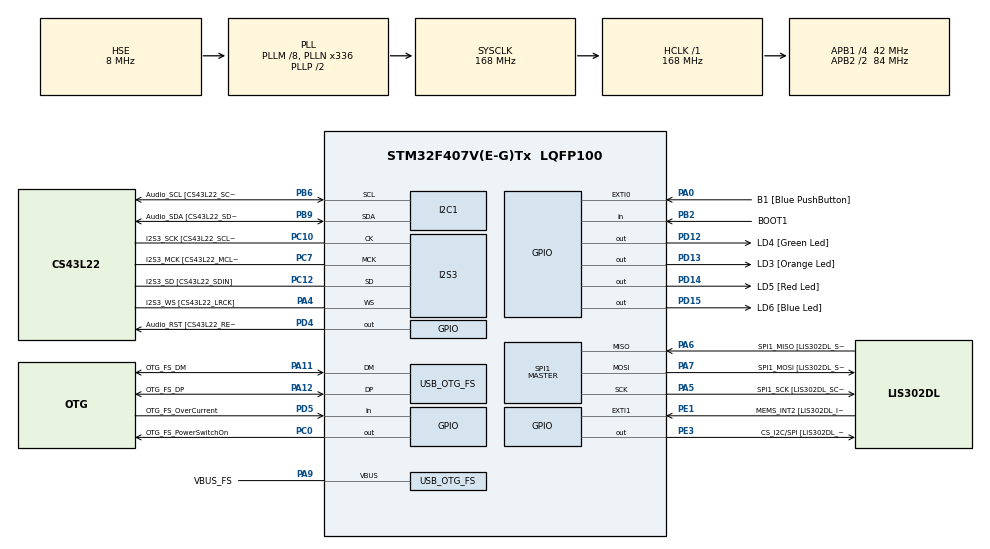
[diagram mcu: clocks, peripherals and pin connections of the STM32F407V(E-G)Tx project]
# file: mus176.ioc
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I2S3.AudioFreq-Half_Duplex_Master=I2S_AUDIOFREQ_96K
I2S3.ErrorAudioFreq=-2.34 %
I2S3.ErrorAudioFreq-Half_Duplex_Master=0.8 %
I2S3.FullDuplexMode=I2S_FULLDUPLEXMODE_DISABLE
I2S3.Instance=SPI$Index
I2S3.RealAudioFreq=93.75 KHz
I2S3.RealAudioFreq-Half_Duplex_Master=96.774 KHz
I2S3.VirtualMode=I2S_MODE_MASTER
Mcu.Family=STM32F4
Mcu.Name=STM32F407V(E-G)Tx
Mcu.Package=LQFP100
NVIC.OTG_FS_IRQn=true\:0\:0\:false\:false\:true\:true\:true
NVIC.PriorityGroup=NVIC_PRIORITYGROUP_0
PA0-WKUP.GPIO_Label=B1 [Blue PushButton]
PA0-WKUP.GPIO_ModeDefaultEXTI=GPIO_MODE_EVT_RISING
PA0-WKUP.GPIO_PuPd=GPIO_NOPULL
PA0-WKUP.Signal=GPXTI0
PA10.GPIO_Label=OTG_FS_ID
PA10.GPIO_Mode=GPIO_MODE_AF_PP
PA10.GPIO_PuPd=GPIO_NOPULL
PA10.GPIO_Speed=GPIO_SPEED_FREQ_LOW
PA10.Signal=USB_OTG_FS_ID
PA11.GPIO_Label=OTG_FS_DM
PA11.GPIO_Mode=GPIO_MODE_AF_PP
PA11.GPIO_PuPd=GPIO_NOPULL
PA11.GPIO_Speed=GPIO_SPEED_FREQ_LOW
PA11.Mode=Host_Only
PA11.Signal=USB_OTG_FS_DM
PA12.GPIO_Label=OTG_FS_DP
PA12.GPIO_Mode=GPIO_MODE_AF_PP
PA12.GPIO_PuPd=GPIO_NOPULL
PA12.GPIO_Speed=GPIO_SPEED_FREQ_LOW
PA12.Mode=Host_Only
PA12.Signal=USB_OTG_FS_DP
PA13.GPIO_Label=SWDIO
PA13.Mode=Serial_Wire
PA13.Signal=SYS_JTMS-SWDIO
PA14.GPIO_Label=SWCLK
PA14.Mode=Serial_Wire
PA14.Signal=SYS_JTCK-SWCLK
PA4.GPIO_Label=I2S3_WS [CS43L22_LRCK]
PA4.GPIO_Mode=GPIO_MODE_AF_PP
PA4.GPIO_PuPd=GPIO_NOPULL
PA4.GPIO_Speed=GPIO_SPEED_FREQ_LOW
PA4.Mode=Half_Duplex_Master
PA4.Signal=I2S3_WS
PA5.GPIO_Label=SPI1_SCK [LIS302DL_SCL/SPC]
PA5.GPIO_Mode=GPIO_MODE_AF_PP
PA5.GPIO_PuPd=GPIO_NOPULL
PA5.GPIO_Speed=GPIO_SPEED_FREQ_LOW
PA5.Mode=Full_Duplex_Master
PA5.Signal=SPI1_SCK
PA6.GPIO_Label=SPI1_MISO [LIS302DL_SDO]
PA6.GPIO_Mode=GPIO_MODE_AF_PP
PA6.GPIO_PuPd=GPIO_NOPULL
PA6.GPIO_Speed=GPIO_SPEED_FREQ_LOW
PA6.Mode=Full_Duplex_Master
PA6.Signal=SPI1_MISO
PA7.GPIO_Label=SPI1_MOSI [LIS302DL_SDA/SDI/SDO]
PA7.GPIO_Mode=GPIO_MODE_AF_PP
PA7.GPIO_PuPd=GPIO_NOPULL
PA7.GPIO_Speed=GPIO_SPEED_FREQ_LOW
PA7.Mode=Full_Duplex_Master
PA7.Signal=SPI1_MOSI
PA9.GPIO_Label=VBUS_FS
PA9.GPIO_Mode=GPIO_MODE_INPUT
PA9.GPIO_PuPd=GPIO_NOPULL
PA9.Mode=Activate_VBUS
PA9.Signal=USB_OTG_FS_VBUS
PB10.GPIO_Label=CLK_IN [MP45DT02_CLK]
PB10.GPIO_Mode=GPIO_MODE_AF_PP
PB10.GPIO_PuPd=GPIO_NOPULL
PB10.GPIO_Speed=GPIO_SPEED_FREQ_LOW
PB10.Signal=I2S2_CK
PB2.GPIO_Label=BOOT1
PB2.GPIO_Mode=GPIO_MODE_INPUT
PB2.GPIO_PuPd=GPIO_NOPULL
PB2.Signal=GPIO_Input
PB3.GPIO_Label=SWO
PB3.Signal=SYS_JTDO-SWO
PB6.GPIO_Label=Audio_SCL [CS43L22_SCL]
PB6.GPIO_Mode=GPIO_MODE_AF_OD
PB6.GPIO_PuPd=GPIO_NOPULL
PB6.GPIO_Speed=GPIO_SPEED_FREQ_LOW
PB6.Mode=I2C
PB6.Signal=I2C1_SCL
PB9.GPIO_Label=Audio_SDA [CS43L22_SDA]
PB9.GPIO_Mode=GPIO_MODE_AF_OD
PB9.GPIO_PuPd=GPIO_NOPULL
PB9.GPIO_Speed=GPIO_SPEED_FREQ_LOW
PB9.Mode=I2C
PB9.Signal=I2C1_SDA
PC0.GPIO_Label=OTG_FS_PowerSwitchOn
PC0.GPIO_PuPd=GPIO_NOPULL
PC0.GPIO_Speed=GPIO_SPEED_FREQ_LOW
PC0.PinState=GPIO_PIN_SET
PC0.Signal=GPIO_Output
PC10.GPIO_Label=I2S3_SCK [CS43L22_SCLK]
PC10.GPIO_Mode=GPIO_MODE_AF_PP
PC10.GPIO_PuPd=GPIO_NOPULL
PC10.GPIO_Speed=GPIO_SPEED_FREQ_LOW
PC10.Mode=Half_Duplex_Master
PC10.Signal=I2S3_CK
PC12.GPIO_Label=I2S3_SD [CS43L22_SDIN]
PC12.GPIO_Mode=GPIO_MODE_AF_PP
PC12.GPIO_PuPd=GPIO_NOPULL
PC12.GPIO_Speed=GPIO_SPEED_FREQ_LOW
PC12.Mode=Half_Duplex_Master
PC12.Signal=I2S3_SD
PC14-OSC32_IN.GPIO_Label=PC14-OSC32_IN
PC14-OSC32_IN.Mode=LSE-External-Oscillator
PC14-OSC32_IN.Signal=RCC_OSC32_IN
PC15-OSC32_OUT.GPIO_Label=PC15-OSC32_OUT
PC15-OSC32_OUT.Mode=LSE-External-Oscillator
PC15-OSC32_OUT.Signal=RCC_OSC32_OUT
PC3.GPIO_Label=PDM_OUT [MP45DT02_DOUT]
PC3.GPIO_Mode=GPIO_MODE_AF_PP
PC3.GPIO_PuPd=GPIO_NOPULL
PC3.GPIO_Speed=GPIO_SPEED_FREQ_LOW
PC3.Signal=I2S2_SD
PC7.GPIO_Label=I2S3_MCK [CS43L22_MCLK]
PC7.GPIO_Mode=GPIO_MODE_AF_PP
PC7.GPIO_PuPd=GPIO_NOPULL
PC7.GPIO_Speed=GPIO_SPEED_FREQ_LOW
PC7.Mode=Master_Clock_Activated
PC7.Signal=I2S3_MCK
PD12.GPIO_Label=LD4 [Green Led]
PD12.GPIO_PuPd=GPIO_NOPULL
PD12.GPIO_Speed=GPIO_SPEED_FREQ_LOW
PD12.Signal=GPIO_Output
PD13.GPIO_Label=LD3 [Orange Led]
PD13.GPIO_PuPd=GPIO_NOPULL
PD13.GPIO_Speed=GPIO_SPEED_FREQ_LOW
PD13.Signal=GPIO_Output
PD14.GPIO_Label=LD5 [Red Led]
PD14.GPIO_PuPd=GPIO_NOPULL
PD14.GPIO_Speed=GPIO_SPEED_FREQ_LOW
PD14.Signal=GPIO_Output
PD15.GPIO_Label=LD6 [Blue Led]
PD15.GPIO_PuPd=GPIO_NOPULL
PD15.GPIO_Speed=GPIO_SPEED_FREQ_LOW
PD15.Signal=GPIO_Output
PD4.GPIO_Label=Audio_RST [CS43L22_RESET]
PD4.GPIO_PuPd=GPIO_NOPULL
PD4.GPIO_Speed=GPIO_SPEED_FREQ_LOW
PD4.Signal=GPIO_Output
PD5.GPIO_Label=OTG_FS_OverCurrent
PD5.GPIO_Mode=GPIO_MODE_INPUT
PD5.GPIO_PuPd=GPIO_NOPULL
PD5.Signal=GPIO_Input
PE1.GPIO_Label=MEMS_INT2 [LIS302DL_INT2]
PE1.GPIO_ModeDefaultEXTI=GPIO_MODE_EVT_RISING
PE1.GPIO_PuPd=GPIO_NOPULL
PE1.Signal=GPXTI1
PE3.GPIO_Label=CS_I2C/SPI [LIS302DL_CS_I2C/SPI]
PE3.GPIO_PuPd=GPIO_NOPULL
PE3.GPIO_Speed=GPIO_SPEED_FREQ_LOW
PE3.Signal=GPIO_Output
PH0-OSC_IN.GPIO_Label=PH0-OSC_IN
PH0-OSC_IN.Mode=HSE-External-Oscillator
PH0-OSC_IN.Signal=RCC_OSC_IN
PH1-OSC_OUT.GPIO_Label=PH1-OSC_OUT
PH1-OSC_OUT.Mode=HSE-External-Oscillator
PH1-OSC_OUT.Signal=RCC_OSC_OUT
ProjectManager.HeapSize=0x200
ProjectManager.StackSize=0x400
ProjectManager.TargetToolchain=STM32CubeIDE
RCC.48MHZClocksFreq_Value=48000000
RCC.AHBFreq_Value=168000000
RCC.APB1CLKDivider=RCC_HCLK_DIV4
RCC.APB1Freq_Value=42000000
RCC.APB1TimFreq_Value=84000000
RCC.APB2CLKDivider=RCC_HCLK_DIV2
RCC.APB2Freq_Value=84000000
RCC.APB2TimFreq_Value=168000000
RCC.CortexFreq_Value=168000000
RCC.HCLKFreq_Value=168000000
RCC.HSE_VALUE=8000000
RCC.HSI_VALUE=16000000
RCC.PLLM=8
RCC.PLLN=336
RCC.PLLQ=7
RCC.SYSCLKFreq_VALUE=168000000
RCC.SYSCLKSource=RCC_SYSCLKSOURCE_PLLCLK
RCC.VCOOutputFreq_Value=336000000
SPI1.BaudRatePrescaler-Full_Duplex_Master=SPI_BAUDRATEPRESCALER_2
SPI1.CalculateBaudRate-Full_Duplex_Master=42.0 MBits/s
SPI1.Direction=SPI_DIRECTION_2LINES
SPI1.Mode=SPI_MODE_MASTER
SPI1.Mode-Full_Duplex_Master=SPI_MODE_MASTER
SPI1.VirtualType=VM_MASTER
USB_HOST.BSP.number=1
USB_HOST.USBH_HandleTypeDef-CDC_FS=hUsbHostFS
USB_HOST.VirtualModeFS=Cdc
USB_HOST0.BSP.STBoard=false
USB_HOST0.BSP.api=Unknown
USB_HOST0.BSP.i2caddr=0
USB_HOST0.BSP.i2creg=0
USB_HOST0.BSP.instance=PC0
USB_HOST0.BSP.ip=GPIO
USB_HOST0.BSP.mode=Output
USB_HOST0.BSP.name=Drive_VBUS_FS
USB_HOST0.BSP.solution=PC0
USB_OTG_FS.VirtualMode=Host_Only
USB_OTG_FS.phy_itface=HCD_PHY_EMBEDDED
VP_USB_HOST_VS_USB_HOST_CDC_FS.Mode=CDC_FS
board=STM32F407G-DISC1

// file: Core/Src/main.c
/* USER CODE BEGIN Header */
/**
 ******************************************************************************
 * @file           : main.c
 * @brief          : Main program body
 ******************************************************************************
 * @attention
 *
 * <h2><center>&copy; Copyright (c) 2020 STMicroelectronics.
 * All rights reserved.</center></h2>
 *
 * This software component is licensed by ST under Ultimate Liberty license
 * SLA0044, the "License"; You may not use this file except in compliance with
 * the License. You may obtain a copy of the License at:
 *                             www.st.com/SLA0044
 *
 ******************************************************************************
 */
/* USER CODE END Header */

#include "main.h"
#include "usb_host.h"
/* USER CODE BEGIN Includes */

// Import BSP audio functions
#include "../../Drivers/BSP/STM32F4-Discovery/stm32f4_discovery_audio.h"

/* USER CODE END Includes */

I2C_HandleTypeDef hi2c1;

I2S_HandleTypeDef hi2s3;

SPI_HandleTypeDef hspi1;

/* USER CODE BEGIN PV */

// Defining the array “codecBuffer”
int16_t codecBuffer[64];    // 32 samples X 2 channels
extern I2S_HandleTypeDef hAudioOutI2s;
extern I2S_HandleTypeDef hAudioInI2s;

// Sound globals
void audioBlock(float *input, float *output, int32_t samples);
float saw1, saw2;
float inBuffer[32], outBuffer[32];

/* USER CODE END PV */

void SystemClock_Config(void);
static void MX_GPIO_Init(void);
static void MX_I2C1_Init(void);
static void MX_I2S3_Init(void);
static void MX_SPI1_Init(void);
void MX_USB_HOST_Process(void);

int main(void)
{

	/* MCU Configuration--------------------------------------------------------*/

	/* Reset of all peripherals, Initializes the Flash interface and the Systick. */
	HAL_Init();

	/* Configure the system clock */
	SystemClock_Config();

	/* Initialize all configured peripherals */
	MX_GPIO_Init();
	MX_I2C1_Init();
	MX_I2S3_Init();
	MX_SPI1_Init();
	MX_USB_HOST_Init();
	/* USER CODE BEGIN 2 */
	BSP_AUDIO_OUT_Init(OUTPUT_DEVICE_HEADPHONE, 90, 48000);
	BSP_AUDIO_OUT_Play((uint16_t*) codecBuffer, 128);
	/* USER CODE END 2 */

	/* Infinite loop */
	/* USER CODE BEGIN WHILE */
	while (1)
	{
		HAL_Delay(400);
		HAL_GPIO_TogglePin(LD6_GPIO_Port, LD3_Pin); // Orange LED
		HAL_Delay(200);
		HAL_GPIO_TogglePin(LD6_GPIO_Port, LD4_Pin); // Green LED
		HAL_Delay(100);
		HAL_GPIO_TogglePin(LD5_GPIO_Port, LD5_Pin); // Red LED
		HAL_Delay(300);
		HAL_GPIO_TogglePin(LD6_GPIO_Port, LD6_Pin); // Blue LED
		/* USER CODE END WHILE */
		MX_USB_HOST_Process();

	}
}

void SystemClock_Config(void)
{
	RCC_OscInitTypeDef RCC_OscInitStruct =
	{ 0 };
	RCC_ClkInitTypeDef RCC_ClkInitStruct =
	{ 0 };
	RCC_PeriphCLKInitTypeDef PeriphClkInitStruct =
	{ 0 };

	/** Configure the main internal regulator output voltage
	 */
	__HAL_RCC_PWR_CLK_ENABLE();
	__HAL_PWR_VOLTAGESCALING_CONFIG(PWR_REGULATOR_VOLTAGE_SCALE1);
	/** Initializes the CPU, AHB and APB busses clocks
	 */
	RCC_OscInitStruct.OscillatorType = RCC_OSCILLATORTYPE_HSE;
	RCC_OscInitStruct.HSEState = RCC_HSE_ON;
	RCC_OscInitStruct.PLL.PLLState = RCC_PLL_ON;
	RCC_OscInitStruct.PLL.PLLSource = RCC_PLLSOURCE_HSE;
	RCC_OscInitStruct.PLL.PLLM = 8;
	RCC_OscInitStruct.PLL.PLLN = 336;
	RCC_OscInitStruct.PLL.PLLP = RCC_PLLP_DIV2;
	RCC_OscInitStruct.PLL.PLLQ = 7;
	if (HAL_RCC_OscConfig(&RCC_OscInitStruct) != HAL_OK)
	{
		Error_Handler();
	}
	/** Initializes the CPU, AHB and APB busses clocks
	 */
	RCC_ClkInitStruct.ClockType = RCC_CLOCKTYPE_HCLK | RCC_CLOCKTYPE_SYSCLK
			| RCC_CLOCKTYPE_PCLK1 | RCC_CLOCKTYPE_PCLK2;
	RCC_ClkInitStruct.SYSCLKSource = RCC_SYSCLKSOURCE_PLLCLK;
	RCC_ClkInitStruct.AHBCLKDivider = RCC_SYSCLK_DIV1;
	RCC_ClkInitStruct.APB1CLKDivider = RCC_HCLK_DIV4;
	RCC_ClkInitStruct.APB2CLKDivider = RCC_HCLK_DIV2;

	if (HAL_RCC_ClockConfig(&RCC_ClkInitStruct, FLASH_LATENCY_5) != HAL_OK)
	{
		Error_Handler();
	}
	PeriphClkInitStruct.PeriphClockSelection = RCC_PERIPHCLK_I2S;
	PeriphClkInitStruct.PLLI2S.PLLI2SN = 192;
	PeriphClkInitStruct.PLLI2S.PLLI2SR = 2;
	if (HAL_RCCEx_PeriphCLKConfig(&PeriphClkInitStruct) != HAL_OK)
	{
		Error_Handler();
	}
}

static void MX_I2C1_Init(void)
{

	hi2c1.Instance = I2C1;
	hi2c1.Init.ClockSpeed = 100000;
	hi2c1.Init.DutyCycle = I2C_DUTYCYCLE_2;
	hi2c1.Init.OwnAddress1 = 0;
	hi2c1.Init.AddressingMode = I2C_ADDRESSINGMODE_7BIT;
	hi2c1.Init.DualAddressMode = I2C_DUALADDRESS_DISABLE;
	hi2c1.Init.OwnAddress2 = 0;
	hi2c1.Init.GeneralCallMode = I2C_GENERALCALL_DISABLE;
	hi2c1.Init.NoStretchMode = I2C_NOSTRETCH_DISABLE;
	if (HAL_I2C_Init(&hi2c1) != HAL_OK)
	{
		Error_Handler();
	}

}

static void MX_I2S3_Init(void)
{

	hi2s3.Instance = SPI3;
	hi2s3.Init.Mode = I2S_MODE_MASTER_TX;
	hi2s3.Init.Standard = I2S_STANDARD_PHILIPS;
	hi2s3.Init.DataFormat = I2S_DATAFORMAT_16B;
	hi2s3.Init.MCLKOutput = I2S_MCLKOUTPUT_ENABLE;
	hi2s3.Init.AudioFreq = I2S_AUDIOFREQ_96K;
	hi2s3.Init.CPOL = I2S_CPOL_LOW;
	hi2s3.Init.ClockSource = I2S_CLOCK_PLL;
	hi2s3.Init.FullDuplexMode = I2S_FULLDUPLEXMODE_DISABLE;
	if (HAL_I2S_Init(&hi2s3) != HAL_OK)
	{
		Error_Handler();
	}

}

static void MX_SPI1_Init(void)
{

	/* SPI1 parameter configuration*/
	hspi1.Instance = SPI1;
	hspi1.Init.Mode = SPI_MODE_MASTER;
	hspi1.Init.Direction = SPI_DIRECTION_2LINES;
	hspi1.Init.DataSize = SPI_DATASIZE_8BIT;
	hspi1.Init.CLKPolarity = SPI_POLARITY_LOW;
	hspi1.Init.CLKPhase = SPI_PHASE_1EDGE;
	hspi1.Init.NSS = SPI_NSS_SOFT;
	hspi1.Init.BaudRatePrescaler = SPI_BAUDRATEPRESCALER_2;
	hspi1.Init.FirstBit = SPI_FIRSTBIT_MSB;
	hspi1.Init.TIMode = SPI_TIMODE_DISABLE;
	hspi1.Init.CRCCalculation = SPI_CRCCALCULATION_DISABLE;
	hspi1.Init.CRCPolynomial = 10;
	if (HAL_SPI_Init(&hspi1) != HAL_OK)
	{
		Error_Handler();
	}

}

static void MX_GPIO_Init(void)
{
	GPIO_InitTypeDef GPIO_InitStruct =
	{ 0 };

	/* GPIO Ports Clock Enable */
	__HAL_RCC_GPIOE_CLK_ENABLE();
	__HAL_RCC_GPIOC_CLK_ENABLE();
	__HAL_RCC_GPIOH_CLK_ENABLE();
	__HAL_RCC_GPIOA_CLK_ENABLE();
	__HAL_RCC_GPIOB_CLK_ENABLE();
	__HAL_RCC_GPIOD_CLK_ENABLE();

	/*Configure GPIO pin Output Level */
	HAL_GPIO_WritePin(CS_I2C_SPI_GPIO_Port, CS_I2C_SPI_Pin, GPIO_PIN_RESET);

	/*Configure GPIO pin Output Level */
	HAL_GPIO_WritePin(OTG_FS_PowerSwitchOn_GPIO_Port, OTG_FS_PowerSwitchOn_Pin,
			GPIO_PIN_SET);

	/*Configure GPIO pin Output Level */
	HAL_GPIO_WritePin(GPIOD,
	LD4_Pin | LD3_Pin | LD5_Pin | LD6_Pin | Audio_RST_Pin, GPIO_PIN_RESET);

	/*Configure GPIO pin : CS_I2C_SPI_Pin */
	GPIO_InitStruct.Pin = CS_I2C_SPI_Pin;
	GPIO_InitStruct.Mode = GPIO_MODE_OUTPUT_PP;
	GPIO_InitStruct.Pull = GPIO_NOPULL;
	GPIO_InitStruct.Speed = GPIO_SPEED_FREQ_LOW;
	HAL_GPIO_Init(CS_I2C_SPI_GPIO_Port, &GPIO_InitStruct);

	/*Configure GPIO pin : OTG_FS_PowerSwitchOn_Pin */
	GPIO_InitStruct.Pin = OTG_FS_PowerSwitchOn_Pin;
	GPIO_InitStruct.Mode = GPIO_MODE_OUTPUT_PP;
	GPIO_InitStruct.Pull = GPIO_NOPULL;
	GPIO_InitStruct.Speed = GPIO_SPEED_FREQ_LOW;
	HAL_GPIO_Init(OTG_FS_PowerSwitchOn_GPIO_Port, &GPIO_InitStruct);

	/*Configure GPIO pin : PDM_OUT_Pin */
	GPIO_InitStruct.Pin = PDM_OUT_Pin;
	GPIO_InitStruct.Mode = GPIO_MODE_AF_PP;
	GPIO_InitStruct.Pull = GPIO_NOPULL;
	GPIO_InitStruct.Speed = GPIO_SPEED_FREQ_LOW;
	GPIO_InitStruct.Alternate = GPIO_AF5_SPI2;
	HAL_GPIO_Init(PDM_OUT_GPIO_Port, &GPIO_InitStruct);

	/*Configure GPIO pin : B1_Pin */
	GPIO_InitStruct.Pin = B1_Pin;
	GPIO_InitStruct.Mode = GPIO_MODE_EVT_RISING;
	GPIO_InitStruct.Pull = GPIO_NOPULL;
	HAL_GPIO_Init(B1_GPIO_Port, &GPIO_InitStruct);

	/*Configure GPIO pin : BOOT1_Pin */
	GPIO_InitStruct.Pin = BOOT1_Pin;
	GPIO_InitStruct.Mode = GPIO_MODE_INPUT;
	GPIO_InitStruct.Pull = GPIO_NOPULL;
	HAL_GPIO_Init(BOOT1_GPIO_Port, &GPIO_InitStruct);

	/*Configure GPIO pin : CLK_IN_Pin */
	GPIO_InitStruct.Pin = CLK_IN_Pin;
	GPIO_InitStruct.Mode = GPIO_MODE_AF_PP;
	GPIO_InitStruct.Pull = GPIO_NOPULL;
	GPIO_InitStruct.Speed = GPIO_SPEED_FREQ_LOW;
	GPIO_InitStruct.Alternate = GPIO_AF5_SPI2;
	HAL_GPIO_Init(CLK_IN_GPIO_Port, &GPIO_InitStruct);

	/*Configure GPIO pins : LD4_Pin LD3_Pin LD5_Pin LD6_Pin
	 Audio_RST_Pin */
	GPIO_InitStruct.Pin = LD4_Pin | LD3_Pin | LD5_Pin | LD6_Pin | Audio_RST_Pin;
	GPIO_InitStruct.Mode = GPIO_MODE_OUTPUT_PP;
	GPIO_InitStruct.Pull = GPIO_NOPULL;
	GPIO_InitStruct.Speed = GPIO_SPEED_FREQ_LOW;
	HAL_GPIO_Init(GPIOD, &GPIO_InitStruct);

	/*Configure GPIO pin : OTG_FS_OverCurrent_Pin */
	GPIO_InitStruct.Pin = OTG_FS_OverCurrent_Pin;
	GPIO_InitStruct.Mode = GPIO_MODE_INPUT;
	GPIO_InitStruct.Pull = GPIO_NOPULL;
	HAL_GPIO_Init(OTG_FS_OverCurrent_GPIO_Port, &GPIO_InitStruct);

	/*Configure GPIO pin : MEMS_INT2_Pin */
	GPIO_InitStruct.Pin = MEMS_INT2_Pin;
	GPIO_InitStruct.Mode = GPIO_MODE_EVT_RISING;
	GPIO_InitStruct.Pull = GPIO_NOPULL;
	HAL_GPIO_Init(MEMS_INT2_GPIO_Port, &GPIO_InitStruct);

}

/* USER CODE BEGIN 4 */

void audioBlock(float *input, float *output, int32_t samples)
{
	int i;
	float increment1, increment2;
	// 0.0000208333f is 1.0/48000.0
	increment1 = 350.0f * 2.0f * 0.0000208333f;
	increment2 = 440.0f * 2.0f * 0.0000208333f;
	for (i = 0; i < samples; i++)
	{
		saw1 += increment1;
		if (saw1 > 1.0f)
			saw1 = saw1 - 2.0f;
		saw2 += increment2;
		if (saw2 > 1.0f)
			saw2 = saw2 - 2.0f;
		output[i << 1] = saw1;
		output[(i << 1) + 1] = saw2;
	}
}

void I2S3_IRQHandler(void)
{
	HAL_DMA_IRQHandler(hAudioOutI2s.hdmatx);
}
void I2S2_IRQHandler(void)
{
	HAL_DMA_IRQHandler(hAudioInI2s.hdmarx);
}

void BSP_AUDIO_OUT_HalfTransfer_CallBack(void)
{
	int i;
	audioBlock(inBuffer, outBuffer, 16);
	for (i = 0; i < 32; i += 2)
	{
		codecBuffer[i + 0] = (int16_t) ((outBuffer[i]) * 32767.0f);
		codecBuffer[i + 1] = (int16_t) ((outBuffer[i + 1]) * 32767.0f);
	}
}

void BSP_AUDIO_OUT_TransferComplete_CallBack(void)
{
	int i;
	BSP_AUDIO_OUT_ChangeBuffer((uint16_t*) codecBuffer, 64);
	audioBlock(inBuffer, outBuffer, 16);
	for (i = 0; i < 32; i += 2)
	{
		codecBuffer[i + 32] = (int16_t) ((outBuffer[i]) * 32767.0f);
		codecBuffer[i + 33] = (int16_t) ((outBuffer[i + 1]) * 32767.0f);
	}
}

void BSP_AUDIO_OUT_Error_CallBack(void)
{
	/* Stop the program with an infinite loop */
	while (1)
	{
	}
}
/* USER CODE END 4 */

void Error_Handler(void)
{
}

/************************ (C) COPYRIGHT STMicroelectronics *****END OF FILE****/
